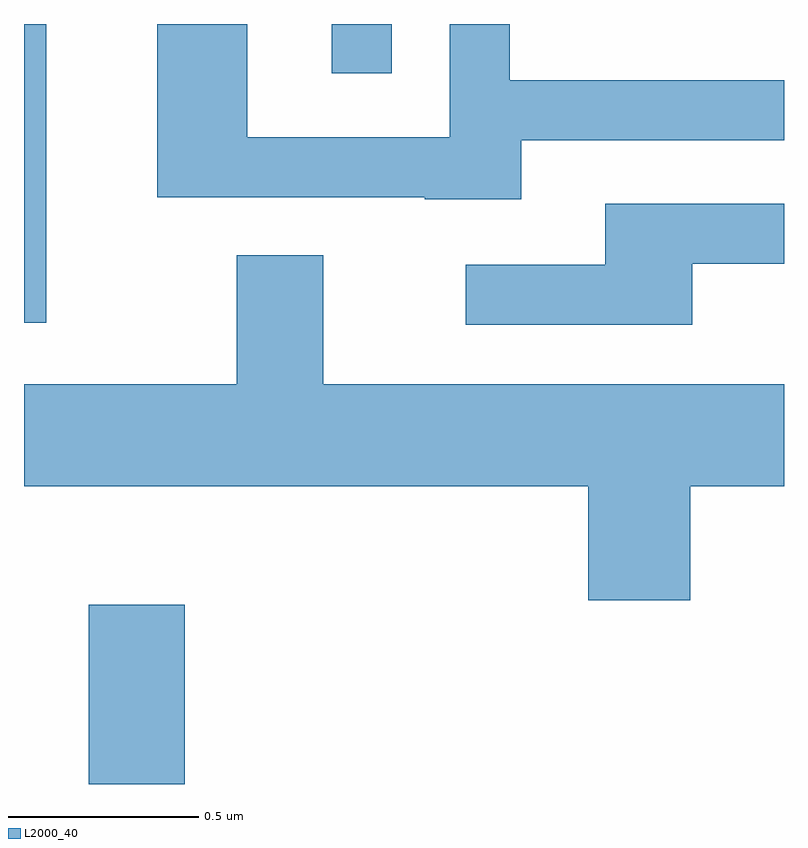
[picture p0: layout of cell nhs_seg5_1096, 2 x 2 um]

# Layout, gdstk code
import gdstk
lib = gdstk.Library(unit=1e-6, precision=1e-09)
def R(c, l, rs):  # rectangles x0, y0, x1, y1
    for r in rs: c.add(gdstk.rectangle(r[:2], r[2:], *l))
def P(c, l, *ps):  # polygons
    for p in ps: c.add(gdstk.Polygon(p, *l))
L2000_40 = (2000, 40)

nhs_seg5_1096 = lib.new_cell('nhs_seg5_1096')
R(nhs_seg5_1096, L2000_40, [(193.781,1396.072,194.034,1396.544), (193.611,1397.286,193.669,1398.072), (194.421,1397.943,194.579,1398.072)])
P(nhs_seg5_1096, L2000_40, [(194.919,1397.766),(195.611,1397.766),(195.611,1397.924),(194.889,1397.924),(194.889,1398.072),(194.731,1398.072),(194.731,1397.774),(194.199,1397.774),(194.199,1398.072),(193.961,1398.072),(193.961,1397.616),(194.665,1397.616),(194.665,1397.611),(194.919,1397.611)],
  [(195.369,1397.441),(195.611,1397.441),(195.611,1397.599),(195.141,1397.599),(195.141,1397.439),(194.773,1397.439),(194.773,1397.281),(195.369,1397.281)],
  [(195.364,1396.856),(195.611,1396.856),(195.611,1397.124),(194.399,1397.124),(194.399,1397.464),(194.171,1397.464),(194.171,1397.124),(193.611,1397.124),(193.611,1396.856),(195.096,1396.856),(195.096,1396.556),(195.364,1396.556)])

lib.write_gds('nhs_seg5_1096.gds')
